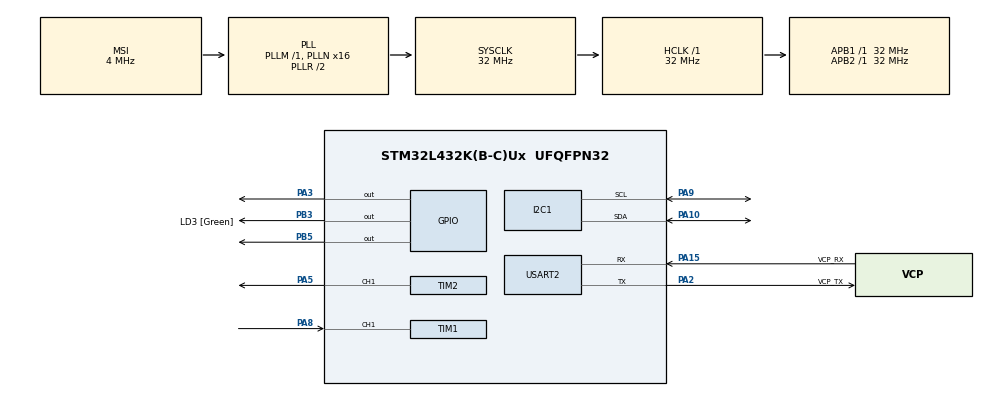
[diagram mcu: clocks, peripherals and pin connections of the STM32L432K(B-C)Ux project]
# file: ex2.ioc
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I2C1.Timing=0x00707CBB
Mcu.Family=STM32L4
Mcu.Name=STM32L432K(B-C)Ux
Mcu.Package=UFQFPN32
NVIC.I2C1_EV_IRQn=true\:0\:0\:false\:false\:true\:true\:true\:true
NVIC.PriorityGroup=NVIC_PRIORITYGROUP_4
NVIC.TIM1_CC_IRQn=true\:0\:0\:false\:false\:true\:true\:true\:true
PA0.GPIO_Label=MCO [High speed clock in]
PA0.Mode=HSE-External-Clock-Source-for-LittleOrca
PA0.Signal=RCC_CK_IN
PA10.Mode=I2C
PA10.Signal=I2C1_SDA
PA13\ (JTMS-SWDIO).GPIO_Label=SWDIO
PA13\ (JTMS-SWDIO).Mode=Serial_Wire
PA13\ (JTMS-SWDIO).Signal=SYS_JTMS-SWDIO
PA14\ (JTCK-SWCLK).GPIO_Label=SWCLK
PA14\ (JTCK-SWCLK).Mode=Serial_Wire
PA14\ (JTCK-SWCLK).Signal=SYS_JTCK-SWCLK
PA15\ (JTDI).GPIO_Label=VCP_RX
PA15\ (JTDI).Mode=Asynchronous
PA15\ (JTDI).Signal=USART2_RX
PA2.GPIO_Label=VCP_TX
PA2.Mode=Asynchronous
PA2.Signal=USART2_TX
PA3.Signal=GPIO_Output
PA5.Signal=S_TIM2_CH1
PA8.Signal=S_TIM1_CH1
PA9.Mode=I2C
PA9.Signal=I2C1_SCL
PB3\ (JTDO-TRACESWO).GPIO_Label=LD3 [Green]
PB3\ (JTDO-TRACESWO).Signal=GPIO_Output
PB5.Signal=GPIO_Output
PC14-OSC32_IN\ (PC14).Mode=LSE-External-Oscillator
PC14-OSC32_IN\ (PC14).Signal=RCC_OSC32_IN
PC15-OSC32_OUT\ (PC15).Mode=LSE-External-Oscillator
PC15-OSC32_OUT\ (PC15).Signal=RCC_OSC32_OUT
ProjectManager.HeapSize=0x200
ProjectManager.StackSize=0x400
ProjectManager.TargetToolchain=MDK-ARM V5.32
RCC.ADCFreq_Value=16000000
RCC.AHBFreq_Value=32000000
RCC.APB1Freq_Value=32000000
RCC.APB1TimFreq_Value=32000000
RCC.APB2Freq_Value=32000000
RCC.APB2TimFreq_Value=32000000
RCC.CortexFreq_Value=32000000
RCC.HCLKFreq_Value=32000000
RCC.HSE_VALUE=8000000
RCC.HSI16_VALUE=16000000
RCC.HSI48_VALUE=48000000
RCC.HSI_VALUE=16000000
RCC.MSI_VALUE=4000000
RCC.PLLMUL=RCC_PLLMUL_4
RCC.PLLN=16
RCC.SYSCLKFreq_VALUE=32000000
RCC.SYSCLKSource=RCC_SYSCLKSOURCE_PLLCLK
RCC.USBFreq_Value=16000000
RCC.VCOOutputFreq_Value=64000000
SH.S_TIM1_CH1.0=TIM1_CH1,Input_Capture1_from_TI1
SH.S_TIM2_CH1.0=TIM2_CH1,PWM Generation1 CH1
TIM1.Channel-Input_Capture1_from_TI1=TIM_CHANNEL_1
TIM1.Prescaler=31
TIM2.Channel-PWM\ Generation1\ CH1=TIM_CHANNEL_1
TIM2.Period=99
USART2.VirtualMode-Asynchronous=VM_ASYNC
VP_TIM1_VS_ClockSourceINT.Mode=Internal
VP_TIM2_VS_ClockSourceINT.Mode=Internal
board=NUCLEO-L432KC

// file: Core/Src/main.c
/* USER CODE BEGIN Header */
/**
  ******************************************************************************
  * @file           : main.c
  * @brief          : Main program body
  ******************************************************************************
  * @attention
  *
  * Copyright (c) 2023 STMicroelectronics.
  * All rights reserved.
  *
  * This software is licensed under terms that can be found in the LICENSE file
  * in the root directory of this software component.
  * If no LICENSE file comes with this software, it is provided AS-IS.
  *
  ******************************************************************************
  */
/* USER CODE END Header */
#include "main.h"

/* USER CODE BEGIN Includes */
#include "stdio.h"
/* USER CODE END Includes */

I2C_HandleTypeDef hi2c1;

TIM_HandleTypeDef htim1;
TIM_HandleTypeDef htim2;

UART_HandleTypeDef huart2;

/* USER CODE BEGIN PV */
extern int distance;
float prescalar;
float array[7] = {523.25, 587.33, 659.25, 698.46, 783.99, 880.00, 987.77};
char resultBuff [100] = {0};
char resultBuffs [100] = {0};
char resultBufff [100] = {0};
/* USER CODE END PV */

void SystemClock_Config(void);
static void MX_GPIO_Init(void);
static void MX_TIM1_Init(void);
static void MX_USART2_UART_Init(void);
static void MX_TIM2_Init(void);
static void MX_I2C1_Init(void);

int main(void)
{

  /* MCU Configuration--------------------------------------------------------*/

  /* Reset of all peripherals, Initializes the Flash interface and the Systick. */
  HAL_Init();

  /* Configure the system clock */
  SystemClock_Config();

  /* Initialize all configured peripherals */
  MX_GPIO_Init();
  MX_TIM1_Init();
  MX_USART2_UART_Init();
  MX_TIM2_Init();
  MX_I2C1_Init();
  /* USER CODE BEGIN 2 */
		HAL_TIM_PWM_Start(&htim2, TIM_CHANNEL_1);

		// set the Capture/Compare Register (CCR) for adjusting the pulse width (duty cycle)
		__HAL_TIM_SET_COMPARE(&htim2, TIM_CHANNEL_1, 50);

		// Start the TIM Base generation
		HAL_TIM_Base_Start(&htim1);

		// Pull Trig output low for a little time
		HAL_GPIO_WritePin(GPIOA, GPIO_PIN_3,  GPIO_PIN_RESET);

		// Temperature

		if (HAL_I2C_IsDeviceReady(&hi2c1, 0xD0, 10, HAL_MAX_DELAY) == HAL_OK)
	{
		for (int i = 1; i<=10;i++) // indicator of ready device
		{
			HAL_GPIO_TogglePin(GPIOB, GPIO_PIN_3);
			HAL_Delay(250);
		}
	}

	//Transmit via I2C
	uint8_t TempHigh[2], TempLow[2], Integer, Decimal;
	TempHigh[0] = 0x11;
	TempLow[0] = 0x12;

	//Receive via I2C and forward to UART
	char tempBuff [1000] = {0};

  /* USER CODE END 2 */

  /* Infinite loop */
  /* USER CODE BEGIN WHILE */
  while (1)
  {
		// pull TRIG high
		HAL_GPIO_WritePin(GPIOA, GPIO_PIN_3,  GPIO_PIN_SET);
	  //create 10µS delay by setting the TIM Counter Register value to 0
		__HAL_TIM_SET_COUNTER(&htim1, 0);
		while (__HAL_TIM_GET_COUNTER(&htim1) < 9 /*TIM Counter Register value is less than the intended value */){}
		// pull TRIG low
		HAL_GPIO_WritePin(GPIOA, GPIO_PIN_3,  GPIO_PIN_RESET);
		// start TIM Input Capture measurement in interrupt mode
		HAL_TIM_IC_Start_IT(&htim1, TIM_CHANNEL_1);
//		sprintf(resultBuff, "Current Distance is: %d\r\n", distance);
//		HAL_UART_Transmit(&huart2, (uint8_t*)resultBuff, sizeof(resultBuff), 10);
		HAL_Delay(1000);

		// wait for a little time
		while (distance >= 1 && distance <= 4){

			prescalar = (SystemCoreClock /(100*array[0]));
			prescalar = prescalar-1;
			// set a prescaler value for the intended timer
			__HAL_TIM_SET_PRESCALER(&htim2, prescalar);
			sprintf(resultBufff, "Please drink water!\r\n");
			HAL_UART_Transmit(&huart2, (uint8_t*)resultBufff, sizeof(resultBufff), 10);
			sprintf(resultBuff, "Current Distance is: %d\r\n", distance);
			HAL_UART_Transmit(&huart2, (uint8_t*)resultBuff, sizeof(resultBuff), 10);
			HAL_Delay(1000);

			break;

		}

		while (distance >8 && distance <= 13 ){

			prescalar = (SystemCoreClock /(100*array[5]));
			prescalar = prescalar-1;
			// set a prescaler value for the intended timer
			__HAL_TIM_SET_PRESCALER(&htim2, prescalar);
			sprintf(resultBuffs, "Please fill the water bottle!\r\n");
			HAL_UART_Transmit(&huart2, (uint8_t*)resultBuffs, sizeof(resultBuffs), 10);
			sprintf(resultBuff, "Current Distance is: %d\r\n", distance);
			HAL_UART_Transmit(&huart2, (uint8_t*)resultBuff, sizeof(resultBuff), 10);
			HAL_Delay(1000);

			break;

		}
			__HAL_TIM_SET_PRESCALER(&htim2, 0);

		//HAL_Delay(1000);

		HAL_I2C_Master_Transmit(&hi2c1, 0xD0, TempHigh, 1, 10);
		HAL_I2C_Master_Receive(&hi2c1, 0xD1, TempHigh+1, 1, 10);

		HAL_I2C_Master_Transmit(&hi2c1, 0xD0, TempLow, 1, 10);
		HAL_I2C_Master_Receive(&hi2c1, 0xD1, TempLow+1, 1, 10);

		Integer = TempHigh[1] & 0x7f;
		TempLow[1] = TempLow[1] & 0xc0;
		Decimal = (TempLow[1] >> 6)*25;

		sprintf(tempBuff, "Temperature: %d.%d , Current Distance: %d \r\n\n",Integer, Decimal, distance);
		HAL_UART_Transmit(&huart2, (uint8_t *)tempBuff, sizeof(tempBuff), 1000);
		HAL_Delay(1000);

    /* USER CODE END WHILE */

  }
}

void SystemClock_Config(void)
{
  RCC_OscInitTypeDef RCC_OscInitStruct = {0};
  RCC_ClkInitTypeDef RCC_ClkInitStruct = {0};

  /** Configure the main internal regulator output voltage
  */
  if (HAL_PWREx_ControlVoltageScaling(PWR_REGULATOR_VOLTAGE_SCALE1) != HAL_OK)
  {
    Error_Handler();
  }

  /** Configure LSE Drive Capability
  */
  HAL_PWR_EnableBkUpAccess();
  __HAL_RCC_LSEDRIVE_CONFIG(RCC_LSEDRIVE_LOW);

  /** Initializes the RCC Oscillators according to the specified parameters
  * in the RCC_OscInitTypeDef structure.
  */
  RCC_OscInitStruct.OscillatorType = RCC_OSCILLATORTYPE_LSE|RCC_OSCILLATORTYPE_MSI;
  RCC_OscInitStruct.LSEState = RCC_LSE_ON;
  RCC_OscInitStruct.MSIState = RCC_MSI_ON;
  RCC_OscInitStruct.MSICalibrationValue = 0;
  RCC_OscInitStruct.MSIClockRange = RCC_MSIRANGE_6;
  RCC_OscInitStruct.PLL.PLLState = RCC_PLL_ON;
  RCC_OscInitStruct.PLL.PLLSource = RCC_PLLSOURCE_MSI;
  RCC_OscInitStruct.PLL.PLLM = 1;
  RCC_OscInitStruct.PLL.PLLN = 16;
  RCC_OscInitStruct.PLL.PLLP = RCC_PLLP_DIV7;
  RCC_OscInitStruct.PLL.PLLQ = RCC_PLLQ_DIV2;
  RCC_OscInitStruct.PLL.PLLR = RCC_PLLR_DIV2;
  if (HAL_RCC_OscConfig(&RCC_OscInitStruct) != HAL_OK)
  {
    Error_Handler();
  }

  /** Initializes the CPU, AHB and APB buses clocks
  */
  RCC_ClkInitStruct.ClockType = RCC_CLOCKTYPE_HCLK|RCC_CLOCKTYPE_SYSCLK
                              |RCC_CLOCKTYPE_PCLK1|RCC_CLOCKTYPE_PCLK2;
  RCC_ClkInitStruct.SYSCLKSource = RCC_SYSCLKSOURCE_PLLCLK;
  RCC_ClkInitStruct.AHBCLKDivider = RCC_SYSCLK_DIV1;
  RCC_ClkInitStruct.APB1CLKDivider = RCC_HCLK_DIV1;
  RCC_ClkInitStruct.APB2CLKDivider = RCC_HCLK_DIV1;

  if (HAL_RCC_ClockConfig(&RCC_ClkInitStruct, FLASH_LATENCY_1) != HAL_OK)
  {
    Error_Handler();
  }

  /** Enable MSI Auto calibration
  */
  HAL_RCCEx_EnableMSIPLLMode();
}

static void MX_I2C1_Init(void)
{

  hi2c1.Instance = I2C1;
  hi2c1.Init.Timing = 0x00707CBB;
  hi2c1.Init.OwnAddress1 = 0;
  hi2c1.Init.AddressingMode = I2C_ADDRESSINGMODE_7BIT;
  hi2c1.Init.DualAddressMode = I2C_DUALADDRESS_DISABLE;
  hi2c1.Init.OwnAddress2 = 0;
  hi2c1.Init.OwnAddress2Masks = I2C_OA2_NOMASK;
  hi2c1.Init.GeneralCallMode = I2C_GENERALCALL_DISABLE;
  hi2c1.Init.NoStretchMode = I2C_NOSTRETCH_DISABLE;
  if (HAL_I2C_Init(&hi2c1) != HAL_OK)
  {
    Error_Handler();
  }

  /** Configure Analogue filter
  */
  if (HAL_I2CEx_ConfigAnalogFilter(&hi2c1, I2C_ANALOGFILTER_ENABLE) != HAL_OK)
  {
    Error_Handler();
  }

  /** Configure Digital filter
  */
  if (HAL_I2CEx_ConfigDigitalFilter(&hi2c1, 0) != HAL_OK)
  {
    Error_Handler();
  }

}

static void MX_TIM1_Init(void)
{

  TIM_ClockConfigTypeDef sClockSourceConfig = {0};
  TIM_MasterConfigTypeDef sMasterConfig = {0};
  TIM_IC_InitTypeDef sConfigIC = {0};

  htim1.Instance = TIM1;
  htim1.Init.Prescaler = 31;
  htim1.Init.CounterMode = TIM_COUNTERMODE_UP;
  htim1.Init.Period = 65535;
  htim1.Init.ClockDivision = TIM_CLOCKDIVISION_DIV1;
  htim1.Init.RepetitionCounter = 0;
  htim1.Init.AutoReloadPreload = TIM_AUTORELOAD_PRELOAD_DISABLE;
  if (HAL_TIM_Base_Init(&htim1) != HAL_OK)
  {
    Error_Handler();
  }
  sClockSourceConfig.ClockSource = TIM_CLOCKSOURCE_INTERNAL;
  if (HAL_TIM_ConfigClockSource(&htim1, &sClockSourceConfig) != HAL_OK)
  {
    Error_Handler();
  }
  if (HAL_TIM_IC_Init(&htim1) != HAL_OK)
  {
    Error_Handler();
  }
  sMasterConfig.MasterOutputTrigger = TIM_TRGO_RESET;
  sMasterConfig.MasterOutputTrigger2 = TIM_TRGO2_RESET;
  sMasterConfig.MasterSlaveMode = TIM_MASTERSLAVEMODE_DISABLE;
  if (HAL_TIMEx_MasterConfigSynchronization(&htim1, &sMasterConfig) != HAL_OK)
  {
    Error_Handler();
  }
  sConfigIC.ICPolarity = TIM_INPUTCHANNELPOLARITY_RISING;
  sConfigIC.ICSelection = TIM_ICSELECTION_DIRECTTI;
  sConfigIC.ICPrescaler = TIM_ICPSC_DIV1;
  sConfigIC.ICFilter = 0;
  if (HAL_TIM_IC_ConfigChannel(&htim1, &sConfigIC, TIM_CHANNEL_1) != HAL_OK)
  {
    Error_Handler();
  }

}

static void MX_TIM2_Init(void)
{

  TIM_ClockConfigTypeDef sClockSourceConfig = {0};
  TIM_MasterConfigTypeDef sMasterConfig = {0};
  TIM_OC_InitTypeDef sConfigOC = {0};

  htim2.Instance = TIM2;
  htim2.Init.Prescaler = 0;
  htim2.Init.CounterMode = TIM_COUNTERMODE_UP;
  htim2.Init.Period = 99;
  htim2.Init.ClockDivision = TIM_CLOCKDIVISION_DIV1;
  htim2.Init.AutoReloadPreload = TIM_AUTORELOAD_PRELOAD_DISABLE;
  if (HAL_TIM_Base_Init(&htim2) != HAL_OK)
  {
    Error_Handler();
  }
  sClockSourceConfig.ClockSource = TIM_CLOCKSOURCE_INTERNAL;
  if (HAL_TIM_ConfigClockSource(&htim2, &sClockSourceConfig) != HAL_OK)
  {
    Error_Handler();
  }
  if (HAL_TIM_PWM_Init(&htim2) != HAL_OK)
  {
    Error_Handler();
  }
  sMasterConfig.MasterOutputTrigger = TIM_TRGO_RESET;
  sMasterConfig.MasterSlaveMode = TIM_MASTERSLAVEMODE_DISABLE;
  if (HAL_TIMEx_MasterConfigSynchronization(&htim2, &sMasterConfig) != HAL_OK)
  {
    Error_Handler();
  }
  sConfigOC.OCMode = TIM_OCMODE_PWM1;
  sConfigOC.Pulse = 0;
  sConfigOC.OCPolarity = TIM_OCPOLARITY_HIGH;
  sConfigOC.OCFastMode = TIM_OCFAST_DISABLE;
  if (HAL_TIM_PWM_ConfigChannel(&htim2, &sConfigOC, TIM_CHANNEL_1) != HAL_OK)
  {
    Error_Handler();
  }
  HAL_TIM_MspPostInit(&htim2);

}

static void MX_USART2_UART_Init(void)
{

  huart2.Instance = USART2;
  huart2.Init.BaudRate = 115200;
  huart2.Init.WordLength = UART_WORDLENGTH_8B;
  huart2.Init.StopBits = UART_STOPBITS_1;
  huart2.Init.Parity = UART_PARITY_NONE;
  huart2.Init.Mode = UART_MODE_TX_RX;
  huart2.Init.HwFlowCtl = UART_HWCONTROL_NONE;
  huart2.Init.OverSampling = UART_OVERSAMPLING_16;
  huart2.Init.OneBitSampling = UART_ONE_BIT_SAMPLE_DISABLE;
  huart2.AdvancedInit.AdvFeatureInit = UART_ADVFEATURE_NO_INIT;
  if (HAL_UART_Init(&huart2) != HAL_OK)
  {
    Error_Handler();
  }

}

static void MX_GPIO_Init(void)
{
  GPIO_InitTypeDef GPIO_InitStruct = {0};

  /* GPIO Ports Clock Enable */
  __HAL_RCC_GPIOC_CLK_ENABLE();
  __HAL_RCC_GPIOA_CLK_ENABLE();
  __HAL_RCC_GPIOB_CLK_ENABLE();

  /*Configure GPIO pin Output Level */
  HAL_GPIO_WritePin(GPIOA, GPIO_PIN_3, GPIO_PIN_RESET);

  /*Configure GPIO pin Output Level */
  HAL_GPIO_WritePin(GPIOB, LD3_Pin|GPIO_PIN_5, GPIO_PIN_RESET);

  /*Configure GPIO pin : PA3 */
  GPIO_InitStruct.Pin = GPIO_PIN_3;
  GPIO_InitStruct.Mode = GPIO_MODE_OUTPUT_PP;
  GPIO_InitStruct.Pull = GPIO_NOPULL;
  GPIO_InitStruct.Speed = GPIO_SPEED_FREQ_LOW;
  HAL_GPIO_Init(GPIOA, &GPIO_InitStruct);

  /*Configure GPIO pins : LD3_Pin PB5 */
  GPIO_InitStruct.Pin = LD3_Pin|GPIO_PIN_5;
  GPIO_InitStruct.Mode = GPIO_MODE_OUTPUT_PP;
  GPIO_InitStruct.Pull = GPIO_NOPULL;
  GPIO_InitStruct.Speed = GPIO_SPEED_FREQ_LOW;
  HAL_GPIO_Init(GPIOB, &GPIO_InitStruct);

}

void Error_Handler(void)
{
  __disable_irq();
  while (1)
  {
  }
}
